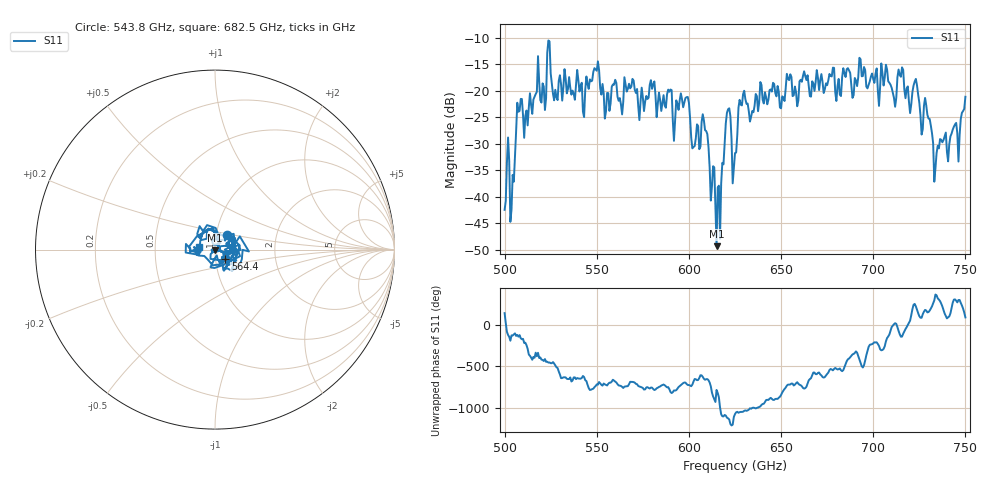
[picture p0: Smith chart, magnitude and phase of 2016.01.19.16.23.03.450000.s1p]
!Created with skrf (http://scikit-rf.org).
# GHz S RI R 50.0
!freq ReS11 ImS11
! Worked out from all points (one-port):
!   401 points, 500 GHz to 750 GHz, reference 50 ohm
!   lowest |S11| = -49.3 dB at 615 GHz (marker M1), VSWR 1.01, Z = 50.1 - j0.315 ohm
!   |S11| at or under -10 dB: start of sweep to end of sweep
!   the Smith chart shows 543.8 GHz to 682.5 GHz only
!   S11 on the Smith chart (normalised r, x): 543.8 GHz: 1.12, +0.18; 564.4 GHz: 1.11, -0.12; 682.5 GHz: 0.84, +0.03
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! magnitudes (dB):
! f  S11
! 500 GHz  -42.5
! 504.4 GHz  -35.9
! 508.1 GHz  -23.8
! 521.2 GHz  -19.2
! 524.4 GHz  -10.7
! 527.5 GHz  -19.8
! 531.2 GHz  -21.9
! 543.8 GHz  -19.8
! 550 GHz  -16.2
! 562.5 GHz  -21.4
! 564.4 GHz  -22.1
! 593.8 GHz  -22.4
! 598.8 GHz  -21.2
! 602.5 GHz  -30.6
! 608.8 GHz  -27.4
! 615 GHz  -49.3
! 616.2 GHz  -37.9
! 621.2 GHz  -23.5
! 625 GHz  -31.8
! 628.8 GHz  -22.8
! 656.2 GHz  -21.0
! 682.5 GHz  -21.0
! 687.5 GHz  -16.7
! 715 GHz  -17.4
! 718.8 GHz  -19.2
! 723.1 GHz  -17.8
! 734.4 GHz  -31.8
! 750 GHz  -21.1
